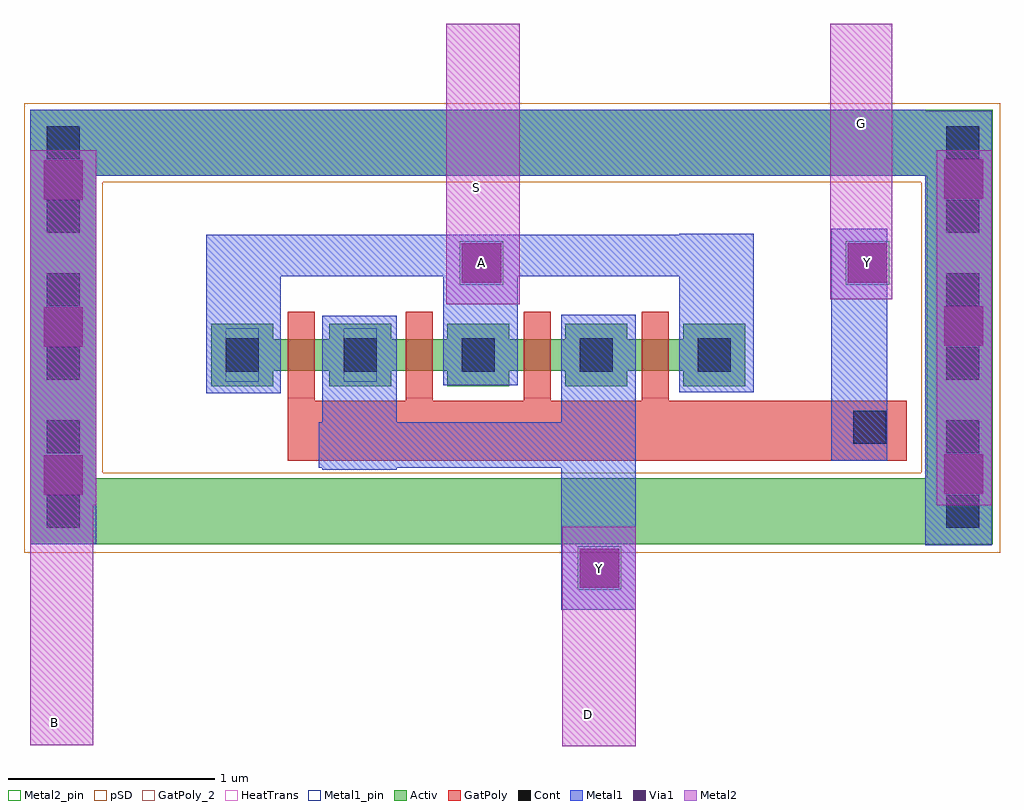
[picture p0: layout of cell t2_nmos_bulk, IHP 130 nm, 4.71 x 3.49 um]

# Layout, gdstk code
import gdstk
lib = gdstk.Library(unit=1e-6, precision=1e-09)
def R(c, l, rs):  # rectangles x0, y0, x1, y1
    for r in rs: c.add(gdstk.rectangle(r[:2], r[2:], *l))
def A(c, l, x, y, w, h, nx, ny, dx, dy):  # array of equal rectangles
    R(c, l, [(x+i*dx, y+j*dy, x+i*dx+w, y+j*dy+h) for i in range(nx) for j in range(ny)])
Activ = (1, 0)
GatPoly = (5, 0)
GatPoly_2 = (5, 2)
Cont = (6, 0)
Metal1 = (8, 0)
Metal1_pin = (8, 2)
Metal2 = (10, 0)
Metal2_pin = (10, 2)
pSD = (14, 0)
Via1 = (19, 0)
HeatTrans = (51, 0)

nmos_1 = lib.new_cell('nmos$1')
A(nmos_1, Activ, 0, 0, 0.3, 0.3, 5, 1, 0.57, 0)
R(nmos_1, Activ, [(0,0.12,2.58,0.18)])
A(nmos_1, GatPoly, 0.37, -0.06, 0.13, 0.42, 4, 1, 0.57, 0)
R(nmos_1, GatPoly_2, [(0.37,-0.06,0.5,0.36)])
A(nmos_1, Cont, 0.07, 0.07, 0.16, 0.16, 5, 1, 0.57, 0)
A(nmos_1, Metal1, 0.07, 0.02, 0.16, 0.26, 5, 1, 0.57, 0)
R(nmos_1, Metal1_pin, [(0.07,0.02,0.23,0.28), (0.64,0.02,0.8,0.28)])
A(nmos_1, HeatTrans, 0.37, -0.06, 0.13, 0.42, 4, 1, 0.57, 0)
nmos_1.add(gdstk.Label('nmos', (0.435,0.15), layer=63, texttype=0))
nmos_1.add(gdstk.Label('nmos', (0.435,0.15), layer=51, texttype=0))
nmos_1.add(gdstk.Label('nmos', (1.005,0.15), layer=51, texttype=0))
nmos_1.add(gdstk.Label('nmos', (1.575,0.15), layer=51, texttype=0))
nmos_1.add(gdstk.Label('nmos', (2.145,0.15), layer=51, texttype=0))

t2_nmos_bulk = lib.new_cell('t2_nmos_bulk')
A(t2_nmos_bulk, Activ, -2.51, 7.805, 0.27, 0.045, 4, 2, 0.57, 0.105)
R(t2_nmos_bulk, Activ, [(-3.685,6.965,0.645,7.285), (0.645,6.965,0.965,8.745), (-3.685,7.285,-3.365,9.065), (-3.365,8.745,0.965,9.065)])
A(t2_nmos_bulk, GatPoly, -2.44, 7.66, 0.13, 0.01, 4, 1, 0.57, 0)
R(t2_nmos_bulk, GatPoly, [(-2.44,7.37,0.55,7.66)])
A(t2_nmos_bulk, Cont, -3.605, 7.405, 0.16, 0.16, 1, 5, 0, 0.355)
A(t2_nmos_bulk, Cont, 0.74, 7.405, 0.16, 0.16, 1, 5, 0, 0.355)
R(t2_nmos_bulk, Cont, [(-3.605,7.045,-3.445,7.205), (0.74,7.045,0.9,7.205), (0.29,7.45,0.45,7.61)])
R(t2_nmos_bulk, Metal1, [(-1.12,6.65,-0.76,8.075), (0.64,6.96,0.96,9.06), (-3.685,6.965,-3.365,9.065), (-2.275,7.325,-1.915,8.07), (-2.29,7.335,-0.76,7.555), (0.185,7.37,0.455,8.49), (-2.835,7.695,-2.475,8.46), (-0.55,7.7,-0.19,8.465), (-1.69,7.735,-1.33,8.46), (-2.835,8.26,-0.19,8.46), (-3.365,8.745,0.64,9.065)])
R(t2_nmos_bulk, Metal2, [(-1.115,5.99,-0.76,7.05), (-3.685,5.995,-3.38,7.575), (-3.685,7.155,-3.365,8.87), (0.695,7.155,0.96,8.87), (-1.675,8.125,-1.32,9.48), (0.18,8.15,0.48,9.48)])
R(t2_nmos_bulk, Metal2_pin, [(-1.04,6.745,-0.83,6.955), (-1.61,8.22,-1.4,8.43), (0.255,8.22,0.465,8.43)])
R(t2_nmos_bulk, pSD, [(-3.715,6.925,0.62,7.31), (0.62,6.925,1,8.715), (-3.715,7.31,-3.335,9.095), (-3.335,8.715,1,9.095)])
R(t2_nmos_bulk, Via1, [(-1.03,6.755,-0.84,6.945), (-3.62,7.205,-3.43,7.395), (0.73,7.21,0.92,7.4), (-3.62,7.92,-3.43,8.11), (0.73,7.925,0.92,8.115), (-1.6,8.23,-1.41,8.42), (0.265,8.23,0.455,8.42), (-3.62,8.63,-3.43,8.82), (0.73,8.635,0.92,8.825)])
t2_nmos_bulk.add(gdstk.Reference(nmos_1, (-2.81,7.73)))
t2_nmos_bulk.add(gdstk.Label('A', (-1.505,8.325), layer=10, texttype=2))
t2_nmos_bulk.add(gdstk.Label('G', (0.33,9), layer=10, texttype=2))
t2_nmos_bulk.add(gdstk.Label('Y', (0.36,8.325), layer=10, texttype=2))
t2_nmos_bulk.add(gdstk.Label('Y', (-0.935,6.85), layer=10, texttype=2))
t2_nmos_bulk.add(gdstk.Label('B', (-3.57,6.105), layer=10, texttype=2))
t2_nmos_bulk.add(gdstk.Label('S', (-1.53,8.69), layer=10, texttype=2))
t2_nmos_bulk.add(gdstk.Label('D', (-0.99,6.145), layer=10, texttype=2))

lib.write_gds('t2_nmos_bulk.gds')
